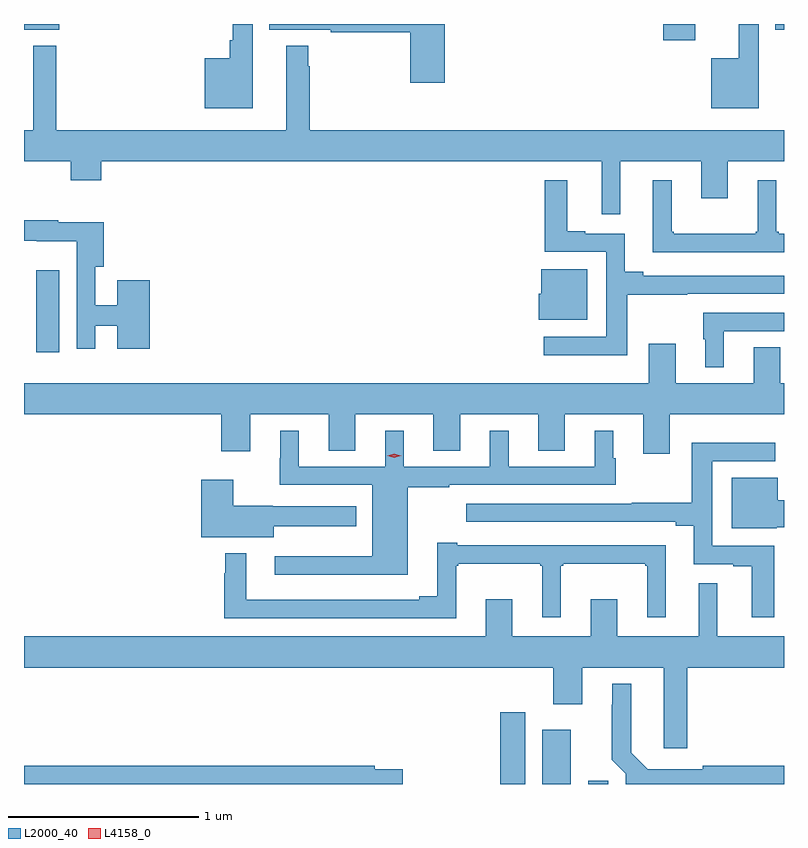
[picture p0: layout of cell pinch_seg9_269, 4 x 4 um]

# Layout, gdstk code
import gdstk
lib = gdstk.Library(unit=1e-6, precision=1e-09)
def R(c, l, rs):  # rectangles x0, y0, x1, y1
    for r in rs: c.add(gdstk.rectangle(r[:2], r[2:], *l))
def P(c, l, *ps):  # polygons
    for p in ps: c.add(gdstk.Polygon(p, *l))
L2000_40 = (2000, 40)
L4158_0 = (4158, 0)

pinch_seg9_269 = lib.new_cell('pinch_seg9_269')
R(pinch_seg9_269, L2000_40, [(435.092,1195.807,435.223,1196.185), (435.314,1195.807,435.463,1196.092), (435.557,1195.807,435.661,1195.825), (432.65,1198.08,432.772,1198.51), (435.95,1199.721,436.12,1199.807), (432.586,1199.777,432.772,1199.807), (436.541,1199.777,436.586,1199.807)])
P(pinch_seg9_269, L2000_40, [(436.453,1199.807),(436.349,1199.807),(436.349,1199.626),(436.202,1199.626),(436.202,1199.363),(436.453,1199.363)],
  [(433.789,1199.807),(433.685,1199.807),(433.685,1199.722),(433.668,1199.722),(433.668,1199.626),(433.538,1199.626),(433.538,1199.363),(433.789,1199.363)],
  [(434.801,1199.807),(433.877,1199.807),(433.877,1199.777),(434.2,1199.777),(434.2,1199.764),(434.618,1199.764),(434.618,1199.499),(434.801,1199.499)],
  [(435.724,1199.084),(436.151,1199.084),(436.151,1198.89),(436.291,1198.89),(436.291,1199.084),(436.586,1199.084),(436.586,1199.248),(434.089,1199.248),(434.089,1199.585),(434.082,1199.585),(434.082,1199.692),(433.967,1199.692),(433.967,1199.248),(432.757,1199.248),(432.757,1199.692),(432.635,1199.692),(432.635,1199.248),(432.586,1199.248),(432.586,1199.084),(432.832,1199.084),(432.832,1198.985),(432.992,1198.985),(432.992,1199.084),(435.626,1199.084),(435.626,1198.806),(435.724,1198.806)],
  [(436.586,1198.703),(436.558,1198.703),(436.558,1198.714),(436.546,1198.714),(436.546,1198.984),(436.448,1198.984),(436.448,1198.714),(436.437,1198.714),(436.437,1198.703),(436.006,1198.703),(436.006,1198.714),(435.994,1198.714),(435.994,1198.984),(435.896,1198.984),(435.896,1198.605),(436.586,1198.605)],
  [(435.76,1198.381),(436.076,1198.381),(436.076,1198.386),(436.586,1198.386),(436.586,1198.482),(435.844,1198.482),(435.844,1198.502),(435.748,1198.502),(435.748,1198.704),(435.541,1198.704),(435.541,1198.717),(435.445,1198.717),(435.445,1198.984),(435.327,1198.984),(435.327,1198.608),(435.651,1198.608),(435.651,1198.161),(435.321,1198.161),(435.321,1198.064),(435.76,1198.064)],
  [(432.96,1198.218),(433.076,1198.218),(433.076,1198.098),(433.247,1198.098),(433.247,1198.459),(433.076,1198.459),(433.076,1198.328),(432.96,1198.328),(432.96,1198.529),(433.007,1198.529),(433.007,1198.764),(432.767,1198.764),(432.767,1198.774),(432.586,1198.774),(432.586,1198.665),(432.654,1198.665),(432.654,1198.664),(432.864,1198.664),(432.864,1198.098),(432.96,1198.098)],
  [(435.55,1198.516),(435.308,1198.516),(435.308,1198.386),(435.296,1198.386),(435.296,1198.25),(435.55,1198.25)],
  [(436.27,1198.191),(436.586,1198.191),(436.586,1198.287),(436.161,1198.287),(436.161,1198.148),(436.172,1198.148),(436.172,1198.001),(436.27,1198.001)],
  [(435.985,1197.752),(436.586,1197.752),(436.586,1197.916),(436.567,1197.916),(436.567,1198.106),(436.427,1198.106),(436.427,1197.916),(436.015,1197.916),(436.015,1198.123),(435.875,1198.123),(435.875,1197.916),(432.586,1197.916),(432.586,1197.752),(433.625,1197.752),(433.625,1197.558),(433.777,1197.558),(433.777,1197.752),(434.189,1197.752),(434.189,1197.562),(434.329,1197.562),(434.329,1197.752),(434.741,1197.752),(434.741,1197.562),(434.881,1197.562),(434.881,1197.752),(435.293,1197.752),(435.293,1197.562),(435.433,1197.562),(435.433,1197.752),(435.845,1197.752),(435.845,1197.546),(435.985,1197.546)],
  [(434.605,1197.369),(434.825,1197.369),(434.825,1197.381),(435.7,1197.381),(435.7,1197.521),(435.688,1197.521),(435.688,1197.667),(435.59,1197.667),(435.59,1197.477),(435.136,1197.477),(435.136,1197.667),(435.038,1197.667),(435.038,1197.477),(434.584,1197.477),(434.584,1197.667),(434.486,1197.667),(434.486,1197.477),(434.032,1197.477),(434.032,1197.667),(433.934,1197.667),(433.934,1197.521),(433.933,1197.521),(433.933,1197.381),(434.42,1197.381),(434.42,1197.007),(433.905,1197.007),(433.905,1196.909),(434.605,1196.909)],
  [(436.534,1197.06),(436.209,1197.06),(436.209,1197.507),(436.54,1197.507),(436.54,1197.604),(436.101,1197.604),(436.101,1197.287),(435.784,1197.287),(435.784,1197.282),(434.913,1197.282),(434.913,1197.186),(436.016,1197.186),(436.016,1197.166),(436.112,1197.166),(436.112,1196.964),(436.319,1196.964),(436.319,1196.952),(436.415,1196.952),(436.415,1196.685),(436.534,1196.685)],
  [(436.548,1197.158),(436.586,1197.158),(436.586,1197.3),(436.552,1197.3),(436.552,1197.418),(436.31,1197.418),(436.31,1197.152),(436.548,1197.152)],
  [(433.9,1197.164),(434.335,1197.164),(434.335,1197.268),(433.896,1197.268),(433.896,1197.271),(433.687,1197.271),(433.687,1197.409),(433.52,1197.409),(433.52,1197.107),(433.9,1197.107)],
  [(434.86,1196.955),(434.872,1196.955),(434.872,1196.966),(435.303,1196.966),(435.303,1196.955),(435.314,1196.955),(435.314,1196.685),(435.412,1196.685),(435.412,1196.955),(435.424,1196.955),(435.424,1196.966),(435.855,1196.966),(435.855,1196.955),(435.866,1196.955),(435.866,1196.685),(435.964,1196.685),(435.964,1197.063),(434.866,1197.063),(434.866,1197.076),(434.762,1197.076),(434.762,1196.795),(434.666,1196.795),(434.666,1196.776),(433.756,1196.776),(433.756,1197.022),(433.646,1197.022),(433.646,1196.915),(433.639,1196.915),(433.639,1196.679),(434.86,1196.679)],
  [(436.076,1196.42),(436.586,1196.42),(436.586,1196.584),(436.235,1196.584),(436.235,1196.863),(436.136,1196.863),(436.136,1196.584),(435.709,1196.584),(435.709,1196.779),(435.569,1196.779),(435.569,1196.584),(435.157,1196.584),(435.157,1196.779),(435.017,1196.779),(435.017,1196.584),(432.586,1196.584),(432.586,1196.42),(435.371,1196.42),(435.371,1196.226),(435.523,1196.226),(435.523,1196.42),(435.953,1196.42),(435.953,1195.995),(436.076,1195.995)],
  [(436.586,1195.904),(436.159,1195.904),(436.159,1195.884),(435.868,1195.884),(435.781,1195.972),(435.781,1196.335),(435.683,1196.335),(435.683,1196.225),(435.679,1196.225),(435.679,1195.934),(435.753,1195.86),(435.753,1195.807),(436.586,1195.807)],
  [(434.579,1195.884),(434.432,1195.884),(434.432,1195.904),(432.586,1195.904),(432.586,1195.807),(434.579,1195.807)])
P(pinch_seg9_269, L4158_0, [(434.535,1197.525),(434.499,1197.535),(434.499,1197.535),(434.499,1197.535),(434.535,1197.545),(434.57,1197.535),(434.571,1197.535),(434.57,1197.535)])

lib.write_gds('pinch_seg9_269.gds')
